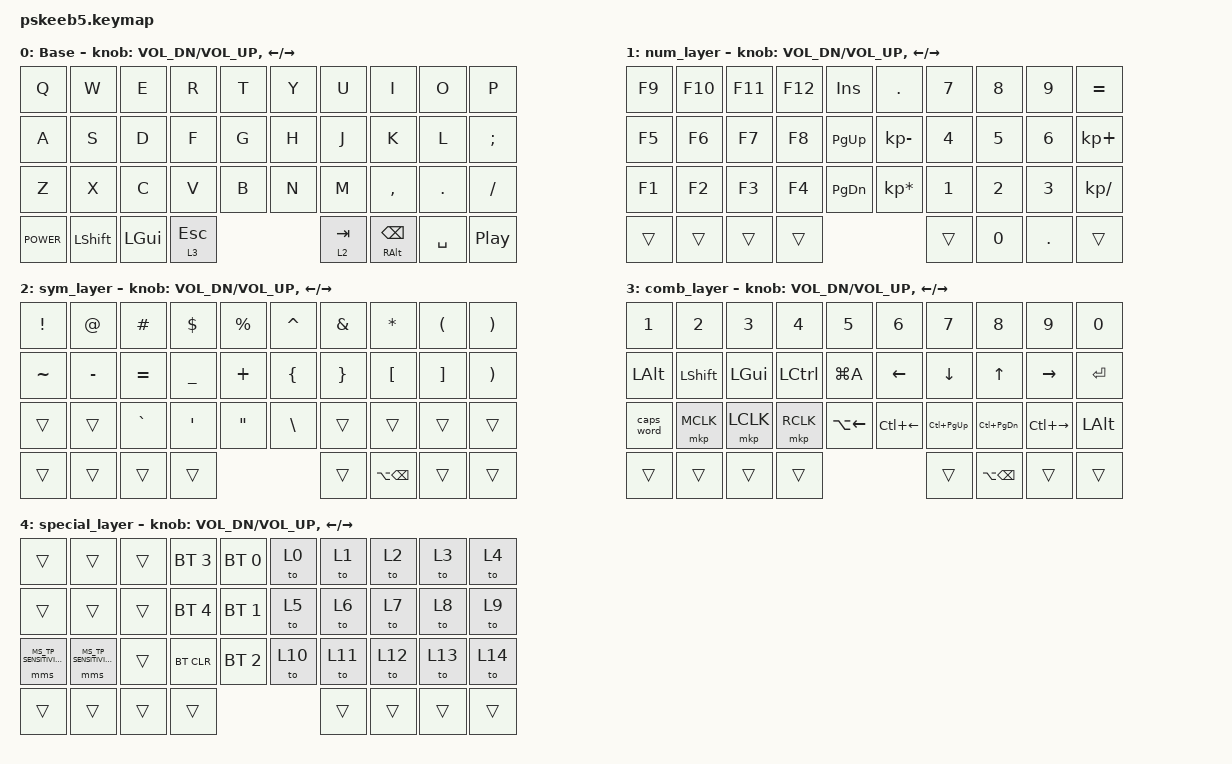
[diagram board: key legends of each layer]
// Copyright (c) 2022 The ZMK Contributors
// SPDX-License-Identifier: MIT

#include <behaviors.dtsi>
#include <dt-bindings/zmk/keys.h>
#include <dt-bindings/zmk/mouse.h>
#include <dt-bindings/zmk/bt.h>

// Home row mods macro
#define HRML(k1,k2,k3,k4) &ht LALT k1  &ht LSHFT k2  &ht LGUI k3  &ht LCTRL k4
#define HRMR(k1,k2,k3,k4) &ht RCTRL k1  &ht RGUI k2  &ht RSHFT k3  &ht RALT k4
#define LCS(keycode) APPLY_MODS(MOD_LCTL | MOD_LSFT, keycode)
#define LCG(keycode) APPLY_MODS(MOD_LCTL | MOD_LGUI, keycode)


#include <behaviors/mouse_setting.dtsi>
#include <dt-bindings/zmk/mouse_settings.h>
#define U_MSS_TP_S_I &mms MS_TP_SENSITIVITY_INCR
#define U_MSS_TP_S_D &mms MS_TP_SENSITIVITY_DECR

/ {
    behaviors {
        ht: hold_tap {
            display-name = "Hold Tap";
            label = "hold_tap";
            compatible = "zmk,behavior-hold-tap";
            #binding-cells = <2>;
            flavor = "balanced";
            tapping-term-ms = <220>;
            quick-tap-ms = <200>;
            // require-prior-idle-ms = <125>;
            // global-quick-tap;
            bindings = <&kp>, <&kp>;
        };
        lt: layer_tap {
            display-name = "Layer Tap";
            compatible = "zmk,behavior-hold-tap";
            label = "LAYER_TAP";
            #binding-cells = <2>;
            // flavor = "balanced";
            tapping-term-ms = <200>;
            quick-tap-ms = <200>;
            // global-quick-tap;
            bindings = <&mo>, <&kp>;
        };
    };

    combos {
        compatible = "zmk,combos";
        // combo_tab {
        //     timeout-ms = <40>;
        //     key-positions = <2 3>;
        //     bindings = <&kp TAB>;
        // };
        // combo_enter {
        //     timeout-ms = <40>;
        //     key-positions = <16 17>;
        //     bindings = <&kp ENTER>;
        // };
        // combo_esc {
        //     timeout-ms = <40>;
        //     key-positions = <12 13>;
        //     bindings = <&kp ESC>;
        // };
        // middle_click {
        //     timeout-ms = <50>;
        //     key-positions = <33 34>;
        //     bindings = <&mkp MCLK>;
        // };
    };

    conditional_layers {
        compatible = "zmk,conditional-layers";
        special_layer {
            if-layers = <2 3>;
            then-layer = <4>;
        };
    };

    keymap {
        compatible = "zmk,keymap";
        default_layer {
            display-name = "Base";
            bindings = <
        //╭──────────┬──────────┬──────────┬──────────┬──────────╮   ╭──────────┬──────────┬──────────┬──────────┬──────────╮
        //│  Q       │  W       │  E       │  R       │  T       │   │  Y       │  U       │  I       │  O       │  P       │
            &kp Q      &kp W      &kp E      &kp R      &kp T          &kp Y      &kp U      &kp I      &kp O      &kp P
        //├──────────┼──────────┼──────────┼──────────┼──────────┤   ├──────────┼──────────┼──────────┼──────────┼──────────┤
        //│  A       │  S       │  D       │  F       │  G       │   │  H       │  J       │  K       │  L       │ ; :      │
            &kp A      &kp S      &kp D      &kp F      &kp G          &kp H      &kp J      &kp K      &kp L      &kp SEMI
        //├──────────┼──────────┼──────────┼──────────┼──────────┤   ├──────────┼──────────┼──────────┼──────────┼──────────┤
        //│  Z       │  X       │  C       │  V       │  B       │   │  N       │  M       │ , <      │ . >      │ / ?      │
            &kp Z      &kp X      &kp C      &kp V      &kp B          &kp N      &kp M      &kp COMMA  &kp DOT    &kp FSLH
        //╰──────────┴──────────┴──────────┼──────────┼──────────┤   ├──────────┼──────────┼──────────┴──────────┴──────────╯
                &kp K_POWER       &kp LSHIFT &kp LGUI   &lt 3 ESC    &lt 2 TAB  &ht RALT BACKSPACE    &kp SPACE  &kp C_PP
        //                                 ╰──────────┴──────────╯   ╰──────────┴──────────╯
            >;
            sensor-bindings = <&inc_dec_kp C_VOL_DN C_VOL_UP &inc_dec_kp LEFT RIGHT>;
        };

        num_layer {
            bindings = <
        //╭──────────┬──────────┬──────────┬──────────┬──────────╮   ╭────────────────┬──────────┬──────────┬──────────┬─────────────╮
        //│ F9       │ F10      │ F11      │ F12      │ INSERT   │   │ .              │ 7        │ 8        │ 9        │  =          │
            &kp F9     &kp F10    &kp F11    &kp F12    &kp INS        &kp DOT         &kp N7     &kp N8     &kp N9    &kp EQUAL
        //├──────────┼──────────┼──────────┼──────────┼──────────┤   ├────────────────┼──────────┼──────────┼──────────┼─────────────┤
        //│ F5       │ F6       │  F7      │  F8      │ PAGE UP  │   │ -              │ 4        │ 5        │ 6        │  +          │
            &kp F5     &kp F6      &kp F7     &kp F8    &kp PG_UP      &kp KP_MINUS     &kp N4     &kp N5    &kp N6      &kp KP_PLUS
        //├──────────┼──────────┼──────────┼──────────┼──────────┤   ├────────────────┼──────────┼──────────┼──────────┼─────────────┤
        //│ F1       │  F2      │  F3       │  F4     │ PAGE DN  │   │ *              │ 1        │ 2        │ 3        │ /           │
           &kp F1     &kp F2     &kp F3     &kp F4     &kp PG_DN       &kp KP_MULTIPLY  &kp N1     &kp N2     &kp N3     &kp KP_DIVIDE
        //╰──────────┴──────────┴──────────┼──────────┼──────────┤   ├──────────┼──────────┼──────────┴──────────┴──────────╯
                        &trans     &trans    &trans     &trans           &trans &kp N0     &kp DOT       &trans
        //                                 ╰──────────┴──────────╯   ╰──────────┴──────────╯
            >;
            sensor-bindings = <&inc_dec_kp C_VOL_DN C_VOL_UP &inc_dec_kp LEFT RIGHT>;
        };

        sym_layer {
            bindings = <
        //╭──────────┬──────────┬──────────┬──────────┬──────────╮   ╭────────────┬──────────┬──────────┬──────────┬──────────╮
        //│  !       │  @       │  #       │  $       │  %       │   │ ^          │  &       │  *       │ (        │  )       │
            &kp EXCL    &kp AT     &kp HASH   &kp DLLR   &kp PRCNT     &kp CARET     &kp AMPS   &kp STAR  &kp LPAR    &kp RPAR
        //├──────────┼──────────┼──────────┼──────────┼──────────┤   ├────────────┼──────────┼──────────┼──────────┼──────────┤
        //│  ~       │  -       │  =       │  _       │  +       │   │ [          │  ]       │  {       │  }       │  |       │
            &kp TILDE   &kp MINUS  &kp EQUAL  &kp UNDER  &kp PLUS      &kp LBRC      &kp RBRC   &kp LBKT   &kp RBKT  &kp RPAR
        //├──────────┼──────────┼──────────┼──────────┼──────────┤   ├────────────┼──────────┼──────────┼──────────┼──────────┤
        //│          │          │  `       │  '       │  "       │   │  \         │          │          │          │          │
            &trans     &trans     &kp GRAVE  &kp SQT     &kp DQT        &kp BSLH     &trans     &trans    &trans     &trans
        //╰──────────┴──────────┴──────────┼──────────┼──────────┤   ├────────────┼──────────┼──────────┴──────────┴──────────╯
                        &trans     &trans    &trans     &trans         &trans       &kp LA(BACKSPACE)     &trans     &trans
        //                                 ╰──────────┴──────────╯   ╰────────────┴──────────╯
            >;
            sensor-bindings = <&inc_dec_kp C_VOL_DN C_VOL_UP &inc_dec_kp LEFT RIGHT>;
        };

        comb_layer {
            bindings = <
        //╭──────────┬────────────┬───────────┬──────────────┬─────────────╮   ╭──────────────┬───────────────┬─────────────┬────────────────┬──────────╮
        //│  1       │  2         │  3        │  4           │  5          │   │  6           │  7            │  8          │  9             │  0       │
            &kp N1     &kp N2       &kp N3       &kp N4         &kp N5           &kp N6          &kp N7          &kp N8        &kp N9           &kp N0
        //├──────────┼────────────┼───────────┼──────────────┼─────────────┤   ├──────────────┼───────────────┼─────────────┼────────────────┼──────────┤
        //│ Option   │ Shift      │ Cmd       │ Ctrl         │  Cmd+A      │   │ Left         │ Down          │ Up          │ Right          │ Enter    │
           &kp LALT    &kp LSHIFT   &kp LGUI    &kp LCTRL       &kp LG(A)        &kp LEFT       &kp DOWN        &kp UP        &kp RIGHT         &kp ENTER
        //├──────────┼────────────┼───────────┼──────────────┼─────────────┤   ├──────────────┼───────────────┼─────────────┼────────────────┼──────────┤
        //│ Caps     │ Middle Clk │ Left Clk  │ Right Clk    │  Pre Word   │   │ Home         │ Pre Tab       │ Next Tab    │     End        │  Option  │
           &caps_word     &mkp MCLK    &mkp LCLK   &mkp RCLK       &kp LA(LEFT)     &kp LC(LEFT)   &kp LC(PAGE_UP) &kp LC(PAGE_DOWN) &kp LC(RIGHT) &kp LALT
        //╰──────────┴────────────┴───────────┼──────────────┼─────────────┤   ├──────────────┼───────────────┼─────────────┴─────────────────┴──────────╯
                        &trans     &trans    &trans     &trans                     &trans       &kp LA(BACKSPACE)     &trans     &trans
        //                                    ╰──────────────┴─────────────╯   ╰──────────────┴───────────────╯
            >;
            sensor-bindings = <&inc_dec_kp C_VOL_DN C_VOL_UP &inc_dec_kp LEFT RIGHT>;
        };

        special_layer {
            bindings = <
        //╭──────────────┬──────────────┬──────────┬─────────────┬────────────╮   ╭──────────┬──────────┬──────────┬──────────┬──────────╮
        //│              │              │          │ PROFILE 3   │PROFILE 0   │   │          │          │          │          │          │
           &trans           &trans        &trans     &bt BT_SEL 3 &bt BT_SEL 0      &to 0     &to 1       &to 2      &to 3      &to 4
        //├──────────────┼──────────────┼──────────┼─────────────┼────────────┤   ├──────────┼──────────┼──────────┼──────────┼──────────┤
        //│              │              │          │ PROFILE 4   │PROFILE 1   │   │          │          │          │          │          │
           &trans           &trans        &trans    &bt BT_SEL 4 &bt BT_SEL 1       &to 5     &to 6       &to 7      &to 8      &to 9
        //├──────────────┼──────────────┼──────────┼─────────────┼────────────┤   ├──────────┼──────────┼──────────┼──────────┼──────────┤
        //│              │              │          │ CLEAR BT    │PROFILE 2   │   │          │          │          │          │          │
           U_MSS_TP_S_D    U_MSS_TP_S_I   &trans   &bt BT_CLR   &bt BT_SEL 2        &to 10    &to 11      &to 12     &to 13     &to 14
        //╰──────────────┴──────────────┴──────────┼─────────────┼────────────┤   ├──────────┼──────────┼──────────┴──────────┴──────────╯
                       &trans     &trans    &trans     &trans             &trans     &trans     &trans     &trans
        //                                 ╰─────────────┴──────────╯   ╰──────────┴──────────╯
            >;
            sensor-bindings = <&inc_dec_kp C_VOL_DN C_VOL_UP &inc_dec_kp LEFT RIGHT>;
        };

    };
};
